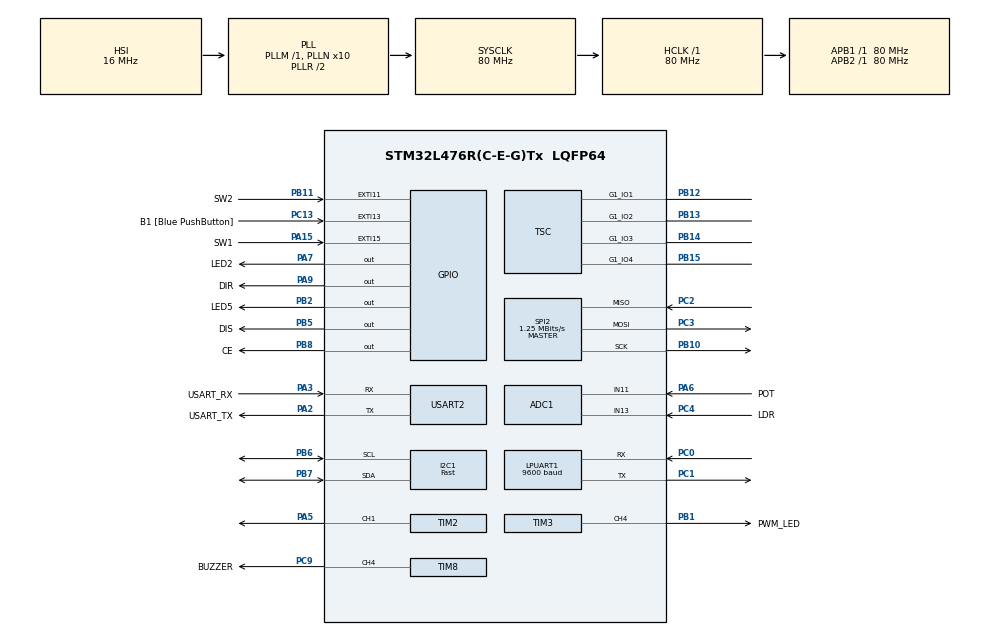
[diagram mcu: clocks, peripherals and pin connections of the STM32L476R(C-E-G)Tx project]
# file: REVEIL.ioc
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ADC1.Channel-0\#ChannelRegularConversion=ADC_CHANNEL_11
ADC1.Channel-1\#ChannelRegularConversion=ADC_CHANNEL_13
ADC1.ClockPrescaler=ADC_CLOCK_SYNC_PCLK_DIV1
ADC1.NbrOfConversion=2
ADC1.NbrOfConversionFlag=1
ADC1.OffsetNumber-0\#ChannelRegularConversion=ADC_OFFSET_NONE
ADC1.OffsetNumber-1\#ChannelRegularConversion=ADC_OFFSET_NONE
ADC1.Rank-0\#ChannelRegularConversion=1
ADC1.Rank-1\#ChannelRegularConversion=2
ADC1.SamplingTime-0\#ChannelRegularConversion=ADC_SAMPLETIME_640CYCLES_5
ADC1.SamplingTime-1\#ChannelRegularConversion=ADC_SAMPLETIME_640CYCLES_5
ADC1.master=1
Dma.Request0=TIM3_CH4/UP
Dma.TIM3_CH4/UP.0.Direction=DMA_MEMORY_TO_PERIPH
Dma.TIM3_CH4/UP.0.Instance=DMA1_Channel3
Dma.TIM3_CH4/UP.0.MemDataAlignment=DMA_MDATAALIGN_HALFWORD
Dma.TIM3_CH4/UP.0.MemInc=DMA_MINC_ENABLE
Dma.TIM3_CH4/UP.0.Mode=DMA_NORMAL
Dma.TIM3_CH4/UP.0.PeriphDataAlignment=DMA_PDATAALIGN_HALFWORD
Dma.TIM3_CH4/UP.0.PeriphInc=DMA_PINC_DISABLE
Dma.TIM3_CH4/UP.0.Priority=DMA_PRIORITY_LOW
FREERTOS.Tasks01=defaultTask,0,128,StartDefaultTask,Default,NULL,Dynamic,NULL,NULL
FREERTOS.configTOTAL_HEAP_SIZE=30000
FREERTOS.configUSE_NEWLIB_REENTRANT=1
I2C1.I2C_Speed_Mode=I2C_Fast
I2C1.Timing=0x00702991
LPUART1.BaudRate=9600
LPUART1.WordLength=UART_WORDLENGTH_8B
Mcu.Family=STM32L4
Mcu.Name=STM32L476R(C-E-G)Tx
Mcu.Package=LQFP64
NVIC.DMA1_Channel3_IRQn=true\:5\:0\:false\:false\:true\:true\:false\:true\:true
NVIC.EXTI15_10_IRQn=true\:5\:0\:false\:false\:true\:true\:true\:true\:true
NVIC.LPUART1_IRQn=true\:5\:0\:false\:false\:true\:true\:true\:true\:true
NVIC.PriorityGroup=NVIC_PRIORITYGROUP_4
NVIC.SPI2_IRQn=true\:5\:0\:false\:false\:true\:true\:true\:true\:true
NVIC.TIM6_DAC_IRQn=true\:15\:0\:false\:false\:true\:false\:false\:true\:true
NVIC.TimeBase=TIM6_DAC_IRQn
NVIC.TimeBaseIP=TIM6
NVIC.USART2_IRQn=true\:5\:0\:false\:false\:true\:true\:true\:true\:true
PA13\ (JTMS-SWDIO).GPIO_Label=TMS
PA13\ (JTMS-SWDIO).Mode=Serial_Wire
PA13\ (JTMS-SWDIO).Signal=SYS_JTMS-SWDIO
PA14\ (JTCK-SWCLK).GPIO_Label=TCK
PA14\ (JTCK-SWCLK).Mode=Serial_Wire
PA14\ (JTCK-SWCLK).Signal=SYS_JTCK-SWCLK
PA15\ (JTDI).GPIO_Label=SW1
PA15\ (JTDI).Signal=GPXTI15
PA2.GPIO_Label=USART_TX
PA2.GPIO_Mode=GPIO_MODE_AF_PP
PA2.GPIO_PuPd=GPIO_NOPULL
PA2.GPIO_Speed=GPIO_SPEED_FREQ_VERY_HIGH
PA2.Mode=Asynchronous
PA2.Signal=USART2_TX
PA3.GPIO_Label=USART_RX
PA3.GPIO_Mode=GPIO_MODE_AF_PP
PA3.GPIO_PuPd=GPIO_NOPULL
PA3.GPIO_Speed=GPIO_SPEED_FREQ_VERY_HIGH
PA3.Mode=Asynchronous
PA3.Signal=USART2_RX
PA5.Signal=S_TIM2_CH1
PA6.GPIO_Label=POT
PA6.Signal=ADCx_IN11
PA7.GPIO_Label=LED2
PA7.Signal=GPIO_Output
PA9.GPIO_Label=DIR
PA9.Signal=GPIO_Output
PB1.GPIO_Label=PWM_LED
PB1.Signal=S_TIM3_CH4
PB10.Mode=Full_Duplex_Master
PB10.Signal=SPI2_SCK
PB11.GPIO_Label=SW2
PB11.Signal=GPXTI11
PB12.Mode=G1_IO1-Channel
PB12.Signal=TSC_G1_IO1
PB13.Mode=G1_IO2-Channel
PB13.Signal=TSC_G1_IO2
PB14.Mode=G1_IO3-Channel
PB14.Signal=TSC_G1_IO3
PB15.Mode=G1_IO4-Sampling
PB15.Signal=TSC_G1_IO4
PB2.GPIO_Label=LED5
PB2.Signal=GPIO_Output
PB3\ (JTDO-TRACESWO).GPIO_Label=SWO
PB3\ (JTDO-TRACESWO).Signal=SYS_JTDO-SWO
PB5.GPIO_Label=DIS
PB5.Signal=GPIO_Output
PB6.Mode=I2C
PB6.Signal=I2C1_SCL
PB7.Mode=I2C
PB7.Signal=I2C1_SDA
PB8.GPIO_Label=CE
PB8.Signal=GPIO_Output
PC0.Mode=Asynchronous
PC0.Signal=LPUART1_RX
PC1.Mode=Asynchronous
PC1.Signal=LPUART1_TX
PC13.GPIO_Label=B1 [Blue PushButton]
PC13.GPIO_ModeDefaultEXTI=GPIO_MODE_IT_FALLING
PC13.GPIO_PuPd=GPIO_NOPULL
PC13.Signal=GPXTI13
PC14-OSC32_IN\ (PC14).Mode=LSE-External-Oscillator
PC14-OSC32_IN\ (PC14).Signal=RCC_OSC32_IN
PC15-OSC32_OUT\ (PC15).Mode=LSE-External-Oscillator
PC15-OSC32_OUT\ (PC15).Signal=RCC_OSC32_OUT
PC2.Mode=Full_Duplex_Master
PC2.Signal=SPI2_MISO
PC3.Mode=Full_Duplex_Master
PC3.Signal=SPI2_MOSI
PC4.GPIO_Label=LDR
PC4.Signal=ADCx_IN13
PC9.GPIO_Label=BUZZER
PC9.Signal=S_TIM8_CH4
ProjectManager.HeapSize=0x200
ProjectManager.StackSize=0x400
ProjectManager.TargetToolchain=STM32CubeIDE
RCC.ADCFreq_Value=64000000
RCC.AHBFreq_Value=80000000
RCC.APB1Freq_Value=80000000
RCC.APB1TimFreq_Value=80000000
RCC.APB2Freq_Value=80000000
RCC.APB2TimFreq_Value=80000000
RCC.CortexFreq_Value=80000000
RCC.HCLKFreq_Value=80000000
RCC.HSE_VALUE=8000000
RCC.HSI_VALUE=16000000
RCC.LPUART1CLockSelection=RCC_LPUART1CLKSOURCE_HSI
RCC.MSI_VALUE=4000000
RCC.PLLN=10
RCC.PLLSourceVirtual=RCC_PLLSOURCE_HSI
RCC.PREFETCH_ENABLE=1
RCC.SYSCLKFreq_VALUE=80000000
RCC.SYSCLKSource=RCC_SYSCLKSOURCE_PLLCLK
RCC.USBFreq_Value=64000000
RCC.VCOOutputFreq_Value=160000000
SH.ADCx_IN11.0=ADC1_IN11,IN11-Single-Ended
SH.ADCx_IN13.0=ADC1_IN13,IN13-Single-Ended
SH.S_TIM2_CH1.0=TIM2_CH1,PWM Generation1 CH1
SH.S_TIM3_CH4.0=TIM3_CH4,PWM Generation4 CH4
SH.S_TIM8_CH4.0=TIM8_CH4,PWM Generation4 CH4
SPI2.BaudRatePrescaler=SPI_BAUDRATEPRESCALER_64
SPI2.CLKPhase=SPI_PHASE_2EDGE
SPI2.CalculateBaudRate=1.25 MBits/s
SPI2.DataSize=SPI_DATASIZE_8BIT
SPI2.Direction=SPI_DIRECTION_2LINES
SPI2.Mode=SPI_MODE_MASTER
SPI2.VirtualType=VM_MASTER
TIM2.Channel-PWM\ Generation1\ CH1=TIM_CHANNEL_1
TIM2.Period=80000-1
TIM2.Prescaler=1-1
TIM3.Channel-PWM\ Generation4\ CH4=TIM_CHANNEL_4
TIM3.Period=100-1
TIM3.Prescaler=1-1
TIM8.Channel-PWM\ Generation4\ CH4=TIM_CHANNEL_4
TIM8.Period=500-1
TIM8.Prescaler=80-1
TIM8.Pulse-PWM\ Generation4\ CH4=250
TSC.ChannelIOs-G1_IO1-Channel=TSC_GROUP1_IO1
TSC.ChannelIOs-G1_IO2-Channel=TSC_GROUP1_IO2
TSC.ChannelIOs-G1_IO3-Channel=TSC_GROUP1_IO3
TSC.SamplingIOs-G1_IO4-Sampling=TSC_GROUP1_IO4
USART2.VirtualMode-Asynchronous=VM_ASYNC
VP_FREERTOS_VS_CMSIS_V1.Mode=CMSIS_V1
VP_SYS_VS_tim6.Mode=TIM6
board=NUCLEO-L476RG

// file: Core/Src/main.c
/* USER CODE BEGIN Header */
/**
  ******************************************************************************
  * @file           : main.c
  * @brief          : Main program body
  ******************************************************************************
  * @attention
  *
  * Copyright (c) 2026 STMicroelectronics.
  * All rights reserved.
  *
  * This software is licensed under terms that can be found in the LICENSE file
  * in the root directory of this software component.
  * If no LICENSE file comes with this software, it is provided AS-IS.
  *
  ******************************************************************************
  */
/* USER CODE END Header */
#include "main.h"
#include "cmsis_os.h"

/* USER CODE BEGIN Includes */
#include <stdio.h>
#include <string.h>
#include "ssd1306.h"
#include "SGP40.h"
/* USER CODE END Includes */

/* USER CODE BEGIN PD */
#define NB_LED				4
#define POT_SEUIL_MANUEL	50
#define DUREE_AUBE_MS       15000U
#define DUREE_CREPUSCULE_MS 15000U
#define DUREE_ALARME_MS     30000U
#define TOUCH_THRESHOLD 430
/* USER CODE END PD */

ADC_HandleTypeDef hadc1;

I2C_HandleTypeDef hi2c1;

UART_HandleTypeDef hlpuart1;
UART_HandleTypeDef huart2;

SPI_HandleTypeDef hspi2;

TIM_HandleTypeDef htim2;
TIM_HandleTypeDef htim3;
TIM_HandleTypeDef htim8;
DMA_HandleTypeDef hdma_tim3_ch4_up;

TSC_HandleTypeDef htsc;

osThreadId defaultTaskHandle;
/* USER CODE BEGIN PV */
/* ============================================================
 * HORLOGE ET ALARME
 * ============================================================ */

typedef struct
{
    uint8_t heure;
    uint8_t min;
    uint8_t sec;
} temps;

temps horloge = {0, 0, 0};
temps alarme  = {0, 0, 0};

uint8_t alarmeActive = 0;

/* ============================================================
 * AFFICHAGE OLED
 * ============================================================ */

char Oled[20];

/*
 * 0 = Heure
 * 1 = Alarme
 * 2 = Température
 * 3 = Qualité de l'air
 */
uint8_t ecran = 0;

volatile uint8_t oledColor = 1;

/* ============================================================
 * BLUETOOTH
 * ============================================================ */

uint8_t bt_char;
char bt_buffer[30];
uint8_t bt_index = 0;

/* ============================================================
 * SEUILS DE CONFIGURATION
 * ============================================================ */

volatile int16_t  seuilTemperature = 3000;   // 30.00 °C
volatile uint16_t seuilVOC = 0;
volatile uint16_t seuilLDR = 1500;

/* ============================================================
 * CAPTEUR DE TEMPÉRATURE
 * ============================================================ */

uint8_t control_T[2] = {0x80, 0x15};
uint8_t Temp_Address = 0x02;
uint8_t Temp[3];

int16_t temperature = 0;
uint8_t temperatureValide = 0;

/* ============================================================
 * CAPTEUR VOC
 * ============================================================ */

uint16_t voc = 0;

float voc_temp = 25.0;
float voc_humi = 50.0;

uint8_t vocValide = 0;

/* ============================================================
 * ADC : POTENTIOMÈTRE ET LDR
 * ============================================================ */

volatile uint16_t adcPot = 0;
volatile uint16_t adcLdr = 0;

/* ============================================================
 * LED RGB
 * ============================================================ */

uint16_t PwmLED[NB_LED * 24 + 50];

/* ============================================================
 * SIMULATION D'AUBE ET DE CRÉPUSCULE
 * ============================================================ */

volatile uint8_t aubeActive = 0;
volatile uint8_t crepusculeActif = 0;

TickType_t debutAube = 0;
TickType_t debutCrepuscule = 0;

/* ============================================================
 * BUZZER ET MÉLODIE DE SOMMEIL
 * ============================================================ */

typedef struct
{
    uint16_t frequence;
    uint16_t duree_ms;
    uint16_t pause_ms;
} NoteDouce;

const NoteDouce melodieDouce[] =
{
    {392, 500, 150},   // Sol
    {440, 500, 150},   // La
    {392, 700, 250},   // Sol

    {330, 500, 150},   // Mi
    {349, 500, 150},   // Fa
    {330, 700, 300},   // Mi

    {294, 600, 150},   // Ré
    {330, 600, 150},   // Mi
    {262, 900, 500}    // Do
};

volatile uint8_t melodieSommeilDemandee = 0;

/* ============================================================
 * Sensitive TouchPad
 * ============================================================ */

volatile uint16_t touchStop   = 0;
volatile uint16_t touchSnooze = 0;
volatile uint16_t touchOnOff  = 0;

volatile uint8_t demandeStopAlarme = 0;

volatile uint8_t demandeSnooze = 0;
volatile uint8_t snoozeActif = 0;
temps heureSnooze = {0, 0, 0};

/* ============================================================
 * SYNCHRONISATION FREERTOS
 * ============================================================ */

SemaphoreHandle_t semaphBT;
SemaphoreHandle_t semaphSW2;
SemaphoreHandle_t semaphSW1;

SemaphoreHandle_t mutexI2C;

/* USER CODE END PV */

void SystemClock_Config(void);
static void MX_GPIO_Init(void);
static void MX_DMA_Init(void);
static void MX_I2C1_Init(void);
static void MX_LPUART1_UART_Init(void);
static void MX_USART2_UART_Init(void);
static void MX_SPI2_Init(void);
static void MX_TIM8_Init(void);
static void MX_TIM2_Init(void);
static void MX_TIM3_Init(void);
static void MX_ADC1_Init(void);
static void MX_TSC_Init(void);
void StartDefaultTask(void const * argument);

/* USER CODE BEGIN PFP */
void TaskHorloge(void *pvParameters);
void TaskAlarme(void *pvParameters);
void playAlarme(void);

void TaskAffichage(void *pvParameters);

void TaskSW1(void *pvParameters);
void TaskSW2(void *pvParameters);

void TaskBluetooth(void *pvParameters);

void TaskTemperature(void *pvParameters);

void TaskVOC(void *pvParameters);

void TaskADC(void *pvParameters);

void TaskVentilo(void *pvParameters);
void Ventilo_Start(uint8_t direction, uint32_t vitesse);
void Ventilo_Stop(void);

void TaskLED(void *pvParameters);
void LED_SetColor(uint8_t red, uint8_t green, uint8_t blue);
void LED_Send(void);

void TaskMelodieSommeil(void *pvParameters);
void Buzzer_SetFrequency(uint16_t frequence);
void playMelodyDouce(void);

void TaskTouch(void *pvParameters);
/* USER CODE END PFP */

/* USER CODE BEGIN 0 */

void Ventilo_Start(uint8_t direction, uint32_t vitesse)
{
    if (vitesse > 80000)
    {
        vitesse = 80000;
    }

    HAL_TIM_PWM_Stop(&htim2, TIM_CHANNEL_1);

    HAL_GPIO_WritePin(DIS_GPIO_Port, DIS_Pin, GPIO_PIN_SET);

    HAL_GPIO_WritePin(DIR_GPIO_Port, DIR_Pin, direction ? GPIO_PIN_SET : GPIO_PIN_RESET);

    __HAL_TIM_SET_COMPARE(&htim2, TIM_CHANNEL_1, vitesse);

    HAL_GPIO_WritePin( DIS_GPIO_Port, DIS_Pin, GPIO_PIN_RESET);

    HAL_TIM_PWM_Start(&htim2, TIM_CHANNEL_1);
}

void Ventilo_Stop(void)
{
    HAL_TIM_PWM_Stop(&htim2, TIM_CHANNEL_1);

    __HAL_TIM_SET_COMPARE(&htim2, TIM_CHANNEL_1, 0);

    HAL_GPIO_WritePin(DIS_GPIO_Port, DIS_Pin, GPIO_PIN_SET);
}

void LED_SetColor(uint8_t red, uint8_t green, uint8_t blue)
{
    uint8_t Couleur[12] =
    {
        green, red, blue,

        green, red, blue,

        green, red, blue,

        green, red, blue
    };

    uint16_t k = 0;

    for (int i = 0; i < 12; i++)
    {
        for (int j = 7; j >= 0; j--)
        {
            PwmLED[k++] = (Couleur[i] & (1u << j)) ? 64 : 32;
        }
    }

    for (int i = 0; i < 50; i++)
    {
        PwmLED[k++] = 0;
    }
}

void LED_Send(void)
{

    HAL_TIM_PWM_Stop_DMA(&htim3, TIM_CHANNEL_4);

    HAL_TIM_PWM_Start_DMA(&htim3, TIM_CHANNEL_4, (uint32_t *)PwmLED, NB_LED * 24 + 50);

    vTaskDelay(pdMS_TO_TICKS(5));
}

void Buzzer_SetFrequency(uint16_t frequence)
{
    if (frequence == 0)
    {
        HAL_TIM_PWM_Stop(&htim8, TIM_CHANNEL_4);
        return;
    }

    uint32_t periode = 1000000U / frequence;

    __HAL_TIM_SET_AUTORELOAD(&htim8, periode - 1);
    __HAL_TIM_SET_COMPARE(&htim8,
                          TIM_CHANNEL_4,
                          periode / 2);

    __HAL_TIM_SET_COUNTER(&htim8, 0);
}

void playAlarme(void)
{
    Buzzer_SetFrequency(1000);
    HAL_TIM_PWM_Start(&htim8, TIM_CHANNEL_4);
}

void playMelodyDouce(void)
{
    uint8_t taille =
        sizeof(melodieDouce) / sizeof(NoteDouce);

    for (uint8_t i = 0; i < taille; i++)
    {
        Buzzer_SetFrequency(
            melodieDouce[i].frequence);

        HAL_TIM_PWM_Start(
            &htim8,
            TIM_CHANNEL_4);

        vTaskDelay(
            pdMS_TO_TICKS(
                melodieDouce[i].duree_ms));

        HAL_TIM_PWM_Stop(
            &htim8,
            TIM_CHANNEL_4);

        vTaskDelay(
            pdMS_TO_TICKS(
                melodieDouce[i].pause_ms));
    }

    HAL_TIM_PWM_Stop(
        &htim8,
        TIM_CHANNEL_4);
}

uint16_t TSC_ReadChannel(uint32_t channel)
{
    TSC_IOConfigTypeDef ioConfig = {0};

    ioConfig.ChannelIOs = channel;
    ioConfig.ShieldIOs = 0;
    ioConfig.SamplingIOs = TSC_GROUP1_IO4;

    HAL_TSC_IODischarge(&htsc, ENABLE);
    vTaskDelay(pdMS_TO_TICKS(1));
    HAL_TSC_IODischarge(&htsc, DISABLE);

    if (HAL_TSC_IOConfig(&htsc, &ioConfig) != HAL_OK)
        return 8191;

    if (HAL_TSC_Start(&htsc) != HAL_OK)
        return 8191;

    while (HAL_TSC_GetState(&htsc) == HAL_TSC_STATE_BUSY)
    {
        taskYIELD();
    }

    if (HAL_TSC_GetState(&htsc) != HAL_TSC_STATE_READY)
        return 8191;

    return HAL_TSC_GroupGetValue(&htsc, TSC_GROUP1_IDX);
}
/* USER CODE END 0 */

int main(void)
{

  /* MCU Configuration--------------------------------------------------------*/

  /* Reset of all peripherals, Initializes the Flash interface and the Systick. */
  HAL_Init();

  /* Configure the system clock */
  SystemClock_Config();

  /* Initialize all configured peripherals */
  MX_GPIO_Init();
  MX_DMA_Init();
  MX_I2C1_Init();
  MX_LPUART1_UART_Init();
  MX_USART2_UART_Init();
  MX_SPI2_Init();
  MX_TIM8_Init();
  MX_TIM2_Init();
  MX_TIM3_Init();
  MX_ADC1_Init();
  MX_TSC_Init();
  /* USER CODE BEGIN 2 */

  SSD1306_Init();

  __HAL_TIM_SET_COMPARE(&htim2, TIM_CHANNEL_1, 0);
  HAL_GPIO_WritePin(DIS_GPIO_Port, DIS_Pin, GPIO_PIN_SET);
  HAL_GPIO_WritePin(DIR_GPIO_Port, DIR_Pin, GPIO_PIN_RESET);

  HAL_UART_Receive_IT(&hlpuart1, &bt_char, 1);

  /* USER CODE END 2 */

  /* USER CODE BEGIN RTOS_MUTEX */
  /* add mutexes, ... */

  mutexI2C = xSemaphoreCreateMutex();

  /* USER CODE END RTOS_MUTEX */

  /* USER CODE BEGIN RTOS_SEMAPHORES */
  /* add semaphores, ... */

  semaphBT = xSemaphoreCreateBinary();
  semaphSW2 = xSemaphoreCreateBinary();
  semaphSW1 = xSemaphoreCreateBinary();

  /* USER CODE END RTOS_SEMAPHORES */

  /* Create the thread(s) */
  /* definition and creation of defaultTask */
  osThreadDef(defaultTask, StartDefaultTask, osPriorityNormal, 0, 128);
  defaultTaskHandle = osThreadCreate(osThread(defaultTask), NULL);

  /* USER CODE BEGIN RTOS_THREADS */
  /* add threads, ... */

  xTaskCreate(TaskHorloge,
              "Horloge",
              256,
              NULL,
              tskIDLE_PRIORITY + 1,
              NULL);

  xTaskCreate(TaskAlarme,
              "Alarme",
              256,
              NULL,
              tskIDLE_PRIORITY + 2,
              NULL);

  xTaskCreate(TaskAffichage,
              "Affichage",
              512,
              NULL,
              tskIDLE_PRIORITY + 1,
              NULL);

  xTaskCreate(TaskSW1,
              "SW1",
              256,
              NULL,
              tskIDLE_PRIORITY + 2,
              NULL);

  xTaskCreate(TaskSW2,
              "SW2",
              256,
              NULL,
              tskIDLE_PRIORITY + 2,
              NULL);

  xTaskCreate(TaskBluetooth,
              "Bluetooth",
              512,
              NULL,
              tskIDLE_PRIORITY + 2,
              NULL);

  xTaskCreate(TaskTemperature,
              "Temperature",
              512,
              NULL,
              tskIDLE_PRIORITY + 1,
              NULL);

  xTaskCreate(TaskVOC,
              "VOC",
              512,
              NULL,
              tskIDLE_PRIORITY + 1,
              NULL);

  xTaskCreate(TaskADC,
              "ADC",
              256,
              NULL,
              tskIDLE_PRIORITY + 1,
              NULL);

  xTaskCreate(TaskVentilo,
              "Ventilo",
              256,
              NULL,
              tskIDLE_PRIORITY + 1,
              NULL);

  xTaskCreate(TaskLED,
              "LED",
              256,
              NULL,
              tskIDLE_PRIORITY + 1,
              NULL);

  xTaskCreate(TaskMelodieSommeil,
              "MelodieSommeil",
              256,
              NULL,
              tskIDLE_PRIORITY + 1,
              NULL);

  xTaskCreate(TaskTouch,
              "Touch",
              256,
              NULL,
              tskIDLE_PRIORITY + 1,
              NULL);

  /* USER CODE END RTOS_THREADS */

  /* Start scheduler */
  osKernelStart();

  /* We should never get here as control is now taken by the scheduler */

  /* Infinite loop */
  while (1)
  {

  }
}

void SystemClock_Config(void)
{
  RCC_OscInitTypeDef RCC_OscInitStruct = {0};
  RCC_ClkInitTypeDef RCC_ClkInitStruct = {0};

  /** Configure the main internal regulator output voltage
  */
  if (HAL_PWREx_ControlVoltageScaling(PWR_REGULATOR_VOLTAGE_SCALE1) != HAL_OK)
  {
    Error_Handler();
  }

  /** Initializes the RCC Oscillators according to the specified parameters
  * in the RCC_OscInitTypeDef structure.
  */
  RCC_OscInitStruct.OscillatorType = RCC_OSCILLATORTYPE_HSI;
  RCC_OscInitStruct.HSIState = RCC_HSI_ON;
  RCC_OscInitStruct.HSICalibrationValue = RCC_HSICALIBRATION_DEFAULT;
  RCC_OscInitStruct.PLL.PLLState = RCC_PLL_ON;
  RCC_OscInitStruct.PLL.PLLSource = RCC_PLLSOURCE_HSI;
  RCC_OscInitStruct.PLL.PLLM = 1;
  RCC_OscInitStruct.PLL.PLLN = 10;
  RCC_OscInitStruct.PLL.PLLP = RCC_PLLP_DIV7;
  RCC_OscInitStruct.PLL.PLLQ = RCC_PLLQ_DIV2;
  RCC_OscInitStruct.PLL.PLLR = RCC_PLLR_DIV2;
  if (HAL_RCC_OscConfig(&RCC_OscInitStruct) != HAL_OK)
  {
    Error_Handler();
  }

  /** Initializes the CPU, AHB and APB buses clocks
  */
  RCC_ClkInitStruct.ClockType = RCC_CLOCKTYPE_HCLK|RCC_CLOCKTYPE_SYSCLK
                              |RCC_CLOCKTYPE_PCLK1|RCC_CLOCKTYPE_PCLK2;
  RCC_ClkInitStruct.SYSCLKSource = RCC_SYSCLKSOURCE_PLLCLK;
  RCC_ClkInitStruct.AHBCLKDivider = RCC_SYSCLK_DIV1;
  RCC_ClkInitStruct.APB1CLKDivider = RCC_HCLK_DIV1;
  RCC_ClkInitStruct.APB2CLKDivider = RCC_HCLK_DIV1;

  if (HAL_RCC_ClockConfig(&RCC_ClkInitStruct, FLASH_LATENCY_4) != HAL_OK)
  {
    Error_Handler();
  }
}

static void MX_ADC1_Init(void)
{

  ADC_MultiModeTypeDef multimode = {0};
  ADC_ChannelConfTypeDef sConfig = {0};

  /** Common config
  */
  hadc1.Instance = ADC1;
  hadc1.Init.ClockPrescaler = ADC_CLOCK_SYNC_PCLK_DIV1;
  hadc1.Init.Resolution = ADC_RESOLUTION_12B;
  hadc1.Init.DataAlign = ADC_DATAALIGN_RIGHT;
  hadc1.Init.ScanConvMode = ADC_SCAN_ENABLE;
  hadc1.Init.EOCSelection = ADC_EOC_SINGLE_CONV;
  hadc1.Init.LowPowerAutoWait = DISABLE;
  hadc1.Init.ContinuousConvMode = DISABLE;
  hadc1.Init.NbrOfConversion = 2;
  hadc1.Init.DiscontinuousConvMode = DISABLE;
  hadc1.Init.ExternalTrigConv = ADC_SOFTWARE_START;
  hadc1.Init.ExternalTrigConvEdge = ADC_EXTERNALTRIGCONVEDGE_NONE;
  hadc1.Init.DMAContinuousRequests = DISABLE;
  hadc1.Init.Overrun = ADC_OVR_DATA_PRESERVED;
  hadc1.Init.OversamplingMode = DISABLE;
  if (HAL_ADC_Init(&hadc1) != HAL_OK)
  {
    Error_Handler();
  }

  /** Configure the ADC multi-mode
  */
  multimode.Mode = ADC_MODE_INDEPENDENT;
  if (HAL_ADCEx_MultiModeConfigChannel(&hadc1, &multimode) != HAL_OK)
  {
    Error_Handler();
  }

  /** Configure Regular Channel
  */
  sConfig.Channel = ADC_CHANNEL_11;
  sConfig.Rank = ADC_REGULAR_RANK_1;
  sConfig.SamplingTime = ADC_SAMPLETIME_640CYCLES_5;
  sConfig.SingleDiff = ADC_SINGLE_ENDED;
  sConfig.OffsetNumber = ADC_OFFSET_NONE;
  sConfig.Offset = 0;
  if (HAL_ADC_ConfigChannel(&hadc1, &sConfig) != HAL_OK)
  {
    Error_Handler();
  }

  /** Configure Regular Channel
  */
  sConfig.Channel = ADC_CHANNEL_13;
  sConfig.Rank = ADC_REGULAR_RANK_2;
  if (HAL_ADC_ConfigChannel(&hadc1, &sConfig) != HAL_OK)
  {
    Error_Handler();
  }

}

static void MX_I2C1_Init(void)
{

  hi2c1.Instance = I2C1;
  hi2c1.Init.Timing = 0x00702991;
  hi2c1.Init.OwnAddress1 = 0;
  hi2c1.Init.AddressingMode = I2C_ADDRESSINGMODE_7BIT;
  hi2c1.Init.DualAddressMode = I2C_DUALADDRESS_DISABLE;
  hi2c1.Init.OwnAddress2 = 0;
  hi2c1.Init.OwnAddress2Masks = I2C_OA2_NOMASK;
  hi2c1.Init.GeneralCallMode = I2C_GENERALCALL_DISABLE;
  hi2c1.Init.NoStretchMode = I2C_NOSTRETCH_DISABLE;
  if (HAL_I2C_Init(&hi2c1) != HAL_OK)
  {
    Error_Handler();
  }

  /** Configure Analogue filter
  */
  if (HAL_I2CEx_ConfigAnalogFilter(&hi2c1, I2C_ANALOGFILTER_ENABLE) != HAL_OK)
  {
    Error_Handler();
  }

  /** Configure Digital filter
  */
  if (HAL_I2CEx_ConfigDigitalFilter(&hi2c1, 0) != HAL_OK)
  {
    Error_Handler();
  }

}

static void MX_LPUART1_UART_Init(void)
{

  hlpuart1.Instance = LPUART1;
  hlpuart1.Init.BaudRate = 9600;
  hlpuart1.Init.WordLength = UART_WORDLENGTH_8B;
  hlpuart1.Init.StopBits = UART_STOPBITS_1;
  hlpuart1.Init.Parity = UART_PARITY_NONE;
  hlpuart1.Init.Mode = UART_MODE_TX_RX;
  hlpuart1.Init.HwFlowCtl = UART_HWCONTROL_NONE;
  hlpuart1.Init.OneBitSampling = UART_ONE_BIT_SAMPLE_DISABLE;
  hlpuart1.AdvancedInit.AdvFeatureInit = UART_ADVFEATURE_NO_INIT;
  if (HAL_UART_Init(&hlpuart1) != HAL_OK)
  {
    Error_Handler();
  }

}

static void MX_USART2_UART_Init(void)
{

  huart2.Instance = USART2;
  huart2.Init.BaudRate = 115200;
  huart2.Init.WordLength = UART_WORDLENGTH_8B;
  huart2.Init.StopBits = UART_STOPBITS_1;
  huart2.Init.Parity = UART_PARITY_NONE;
  huart2.Init.Mode = UART_MODE_TX_RX;
  huart2.Init.HwFlowCtl = UART_HWCONTROL_NONE;
  huart2.Init.OverSampling = UART_OVERSAMPLING_16;
  huart2.Init.OneBitSampling = UART_ONE_BIT_SAMPLE_DISABLE;
  huart2.AdvancedInit.AdvFeatureInit = UART_ADVFEATURE_NO_INIT;
  if (HAL_UART_Init(&huart2) != HAL_OK)
  {
    Error_Handler();
  }

}

static void MX_SPI2_Init(void)
{

  /* SPI2 parameter configuration*/
  hspi2.Instance = SPI2;
  hspi2.Init.Mode = SPI_MODE_MASTER;
  hspi2.Init.Direction = SPI_DIRECTION_2LINES;
  hspi2.Init.DataSize = SPI_DATASIZE_8BIT;
  hspi2.Init.CLKPolarity = SPI_POLARITY_LOW;
  hspi2.Init.CLKPhase = SPI_PHASE_2EDGE;
  hspi2.Init.NSS = SPI_NSS_SOFT;
  hspi2.Init.BaudRatePrescaler = SPI_BAUDRATEPRESCALER_64;
  hspi2.Init.FirstBit = SPI_FIRSTBIT_MSB;
  hspi2.Init.TIMode = SPI_TIMODE_DISABLE;
  hspi2.Init.CRCCalculation = SPI_CRCCALCULATION_DISABLE;
  hspi2.Init.CRCPolynomial = 7;
  hspi2.Init.CRCLength = SPI_CRC_LENGTH_DATASIZE;
  hspi2.Init.NSSPMode = SPI_NSS_PULSE_DISABLE;
  if (HAL_SPI_Init(&hspi2) != HAL_OK)
  {
    Error_Handler();
  }

}

static void MX_TIM2_Init(void)
{

  TIM_MasterConfigTypeDef sMasterConfig = {0};
  TIM_OC_InitTypeDef sConfigOC = {0};

  htim2.Instance = TIM2;
  htim2.Init.Prescaler = 1-1;
  htim2.Init.CounterMode = TIM_COUNTERMODE_UP;
  htim2.Init.Period = 80000-1;
  htim2.Init.ClockDivision = TIM_CLOCKDIVISION_DIV1;
  htim2.Init.AutoReloadPreload = TIM_AUTORELOAD_PRELOAD_DISABLE;
  if (HAL_TIM_PWM_Init(&htim2) != HAL_OK)
  {
    Error_Handler();
  }
  sMasterConfig.MasterOutputTrigger = TIM_TRGO_RESET;
  sMasterConfig.MasterSlaveMode = TIM_MASTERSLAVEMODE_DISABLE;
  if (HAL_TIMEx_MasterConfigSynchronization(&htim2, &sMasterConfig) != HAL_OK)
  {
    Error_Handler();
  }
  sConfigOC.OCMode = TIM_OCMODE_PWM1;
  sConfigOC.Pulse = 0;
  sConfigOC.OCPolarity = TIM_OCPOLARITY_HIGH;
  sConfigOC.OCFastMode = TIM_OCFAST_DISABLE;
  if (HAL_TIM_PWM_ConfigChannel(&htim2, &sConfigOC, TIM_CHANNEL_1) != HAL_OK)
  {
    Error_Handler();
  }
  HAL_TIM_MspPostInit(&htim2);

}

static void MX_TIM3_Init(void)
{

  TIM_MasterConfigTypeDef sMasterConfig = {0};
  TIM_OC_InitTypeDef sConfigOC = {0};

  htim3.Instance = TIM3;
  htim3.Init.Prescaler = 1-1;
  htim3.Init.CounterMode = TIM_COUNTERMODE_UP;
  htim3.Init.Period = 100-1;
  htim3.Init.ClockDivision = TIM_CLOCKDIVISION_DIV1;
  htim3.Init.AutoReloadPreload = TIM_AUTORELOAD_PRELOAD_DISABLE;
  if (HAL_TIM_PWM_Init(&htim3) != HAL_OK)
  {
    Error_Handler();
  }
  sMasterConfig.MasterOutputTrigger = TIM_TRGO_RESET;
  sMasterConfig.MasterSlaveMode = TIM_MASTERSLAVEMODE_DISABLE;
  if (HAL_TIMEx_MasterConfigSynchronization(&htim3, &sMasterConfig) != HAL_OK)
  {
    Error_Handler();
  }
  sConfigOC.OCMode = TIM_OCMODE_PWM1;
  sConfigOC.Pulse = 0;
  sConfigOC.OCPolarity = TIM_OCPOLARITY_HIGH;
  sConfigOC.OCFastMode = TIM_OCFAST_DISABLE;
  if (HAL_TIM_PWM_ConfigChannel(&htim3, &sConfigOC, TIM_CHANNEL_4) != HAL_OK)
  {
    Error_Handler();
  }
  HAL_TIM_MspPostInit(&htim3);

}

static void MX_TIM8_Init(void)
{

  TIM_MasterConfigTypeDef sMasterConfig = {0};
  TIM_OC_InitTypeDef sConfigOC = {0};
  TIM_BreakDeadTimeConfigTypeDef sBreakDeadTimeConfig = {0};

  htim8.Instance = TIM8;
  htim8.Init.Prescaler = 80-1;
  htim8.Init.CounterMode = TIM_COUNTERMODE_UP;
  htim8.Init.Period = 500-1;
  htim8.Init.ClockDivision = TIM_CLOCKDIVISION_DIV1;
  htim8.Init.RepetitionCounter = 0;
  htim8.Init.AutoReloadPreload = TIM_AUTORELOAD_PRELOAD_DISABLE;
  if (HAL_TIM_PWM_Init(&htim8) != HAL_OK)
  {
    Error_Handler();
  }
  sMasterConfig.MasterOutputTrigger = TIM_TRGO_RESET;
  sMasterConfig.MasterOutputTrigger2 = TIM_TRGO2_RESET;
  sMasterConfig.MasterSlaveMode = TIM_MASTERSLAVEMODE_DISABLE;
  if (HAL_TIMEx_MasterConfigSynchronization(&htim8, &sMasterConfig) != HAL_OK)
  {
    Error_Handler();
  }
  sConfigOC.OCMode = TIM_OCMODE_PWM1;
  sConfigOC.Pulse = 250;
  sConfigOC.OCPolarity = TIM_OCPOLARITY_HIGH;
  sConfigOC.OCFastMode = TIM_OCFAST_DISABLE;
  sConfigOC.OCIdleState = TIM_OCIDLESTATE_RESET;
  sConfigOC.OCNIdleState = TIM_OCNIDLESTATE_RESET;
  if (HAL_TIM_PWM_ConfigChannel(&htim8, &sConfigOC, TIM_CHANNEL_4) != HAL_OK)
  {
    Error_Handler();
  }
  sBreakDeadTimeConfig.OffStateRunMode = TIM_OSSR_DISABLE;
  sBreakDeadTimeConfig.OffStateIDLEMode = TIM_OSSI_DISABLE;
  sBreakDeadTimeConfig.LockLevel = TIM_LOCKLEVEL_OFF;
  sBreakDeadTimeConfig.DeadTime = 0;
  sBreakDeadTimeConfig.BreakState = TIM_BREAK_DISABLE;
  sBreakDeadTimeConfig.BreakPolarity = TIM_BREAKPOLARITY_HIGH;
  sBreakDeadTimeConfig.BreakFilter = 0;
  sBreakDeadTimeConfig.Break2State = TIM_BREAK2_DISABLE;
  sBreakDeadTimeConfig.Break2Polarity = TIM_BREAK2POLARITY_HIGH;
  sBreakDeadTimeConfig.Break2Filter = 0;
  sBreakDeadTimeConfig.AutomaticOutput = TIM_AUTOMATICOUTPUT_DISABLE;
  if (HAL_TIMEx_ConfigBreakDeadTime(&htim8, &sBreakDeadTimeConfig) != HAL_OK)
  {
    Error_Handler();
  }
  HAL_TIM_MspPostInit(&htim8);

}

static void MX_TSC_Init(void)
{

  /** Configure the TSC peripheral
  */
  htsc.Instance = TSC;
  htsc.Init.CTPulseHighLength = TSC_CTPH_2CYCLES;
  htsc.Init.CTPulseLowLength = TSC_CTPL_2CYCLES;
  htsc.Init.SpreadSpectrum = DISABLE;
  htsc.Init.SpreadSpectrumDeviation = 1;
  htsc.Init.SpreadSpectrumPrescaler = TSC_SS_PRESC_DIV1;
  htsc.Init.PulseGeneratorPrescaler = TSC_PG_PRESC_DIV4;
  htsc.Init.MaxCountValue = TSC_MCV_8191;
  htsc.Init.IODefaultMode = TSC_IODEF_OUT_PP_LOW;
  htsc.Init.SynchroPinPolarity = TSC_SYNC_POLARITY_FALLING;
  htsc.Init.AcquisitionMode = TSC_ACQ_MODE_NORMAL;
  htsc.Init.MaxCountInterrupt = DISABLE;
  htsc.Init.ChannelIOs = TSC_GROUP1_IO1|TSC_GROUP1_IO2|TSC_GROUP1_IO3;
  htsc.Init.ShieldIOs = 0;
  htsc.Init.SamplingIOs = TSC_GROUP1_IO4;
  if (HAL_TSC_Init(&htsc) != HAL_OK)
  {
    Error_Handler();
  }

}

static void MX_DMA_Init(void)
{

  /* DMA controller clock enable */
  __HAL_RCC_DMA1_CLK_ENABLE();

  /* DMA interrupt init */
  /* DMA1_Channel3_IRQn interrupt configuration */
  HAL_NVIC_SetPriority(DMA1_Channel3_IRQn, 5, 0);
  HAL_NVIC_EnableIRQ(DMA1_Channel3_IRQn);

}

static void MX_GPIO_Init(void)
{
  GPIO_InitTypeDef GPIO_InitStruct = {0};

  /* GPIO Ports Clock Enable */
  __HAL_RCC_GPIOC_CLK_ENABLE();
  __HAL_RCC_GPIOA_CLK_ENABLE();
  __HAL_RCC_GPIOB_CLK_ENABLE();

  /*Configure GPIO pin Output Level */
  HAL_GPIO_WritePin(GPIOA, LED2_Pin|DIR_Pin, GPIO_PIN_RESET);

  /*Configure GPIO pin Output Level */
  HAL_GPIO_WritePin(GPIOB, LED5_Pin|DIS_Pin|CE_Pin, GPIO_PIN_RESET);

  /*Configure GPIO pin : B1_Pin */
  GPIO_InitStruct.Pin = B1_Pin;
  GPIO_InitStruct.Mode = GPIO_MODE_IT_FALLING;
  GPIO_InitStruct.Pull = GPIO_NOPULL;
  HAL_GPIO_Init(B1_GPIO_Port, &GPIO_InitStruct);

  /*Configure GPIO pins : LED2_Pin DIR_Pin */
  GPIO_InitStruct.Pin = LED2_Pin|DIR_Pin;
  GPIO_InitStruct.Mode = GPIO_MODE_OUTPUT_PP;
  GPIO_InitStruct.Pull = GPIO_NOPULL;
  GPIO_InitStruct.Speed = GPIO_SPEED_FREQ_LOW;
  HAL_GPIO_Init(GPIOA, &GPIO_InitStruct);

  /*Configure GPIO pins : LED5_Pin DIS_Pin CE_Pin */
  GPIO_InitStruct.Pin = LED5_Pin|DIS_Pin|CE_Pin;
  GPIO_InitStruct.Mode = GPIO_MODE_OUTPUT_PP;
  GPIO_InitStruct.Pull = GPIO_NOPULL;
  GPIO_InitStruct.Speed = GPIO_SPEED_FREQ_LOW;
  HAL_GPIO_Init(GPIOB, &GPIO_InitStruct);

  /*Configure GPIO pin : SW2_Pin */
  GPIO_InitStruct.Pin = SW2_Pin;
  GPIO_InitStruct.Mode = GPIO_MODE_IT_RISING;
  GPIO_InitStruct.Pull = GPIO_NOPULL;
  HAL_GPIO_Init(SW2_GPIO_Port, &GPIO_InitStruct);

  /*Configure GPIO pin : SW1_Pin */
  GPIO_InitStruct.Pin = SW1_Pin;
  GPIO_InitStruct.Mode = GPIO_MODE_IT_RISING;
  GPIO_InitStruct.Pull = GPIO_NOPULL;
  HAL_GPIO_Init(SW1_GPIO_Port, &GPIO_InitStruct);

  /* EXTI interrupt init*/
  HAL_NVIC_SetPriority(EXTI15_10_IRQn, 5, 0);
  HAL_NVIC_EnableIRQ(EXTI15_10_IRQn);

}

/* USER CODE BEGIN 4 */

void TaskHorloge(void *pvParameters)
{
    TickType_t xLastWakeTime = xTaskGetTickCount();

    while (1)
    {
        vTaskDelayUntil(&xLastWakeTime, pdMS_TO_TICKS(1000));
        horloge.sec++;

        if (horloge.sec >= 60)
        {
            horloge.sec = 0;
            horloge.min++;

            if (horloge.min >= 60)
            {
                horloge.min = 0;
                horloge.heure++;

                if (horloge.heure >= 24)
                {
                    horloge.heure = 0;
                }
            }
        }

    }
}

void TaskAlarme(void *pvParameters)
{
    uint8_t declenchee = 0;
    TickType_t debutSonnerie = 0;
    uint8_t sonnerieActive = 0;

    while (1)
    {
        if (demandeStopAlarme)
        {
            demandeStopAlarme = 0;

            if (sonnerieActive)
            {
                HAL_TIM_PWM_Stop(&htim8, TIM_CHANNEL_4);
                sonnerieActive = 0;
            }

            aubeActive = 0;

            snoozeActif = 0;
        }

        if (demandeSnooze)
        {
            demandeSnooze = 0;

            if (sonnerieActive)
            {
                HAL_TIM_PWM_Stop(&htim8, TIM_CHANNEL_4);
                sonnerieActive = 0;

                aubeActive = 0;

                heureSnooze.heure = horloge.heure;
                heureSnooze.min   = horloge.min + 1;
                heureSnooze.sec   = horloge.sec;

                if (heureSnooze.min >= 60)
                {
                    heureSnooze.min = 0;
                    heureSnooze.heure++;

                    if (heureSnooze.heure >= 24)
                    {
                        heureSnooze.heure = 0;
                    }
                }

                snoozeActif = 1;
            }
        }

        if (alarmeActive && !snoozeActif && horloge.heure == alarme.heure && horloge.min   == alarme.min && horloge.sec   == alarme.sec && !declenchee)
        {
            declenchee = 1;

            aubeActive = 1;
            debutAube = xTaskGetTickCount();

            playAlarme();

            sonnerieActive = 1;
            debutSonnerie = xTaskGetTickCount();
        }

        if (alarmeActive && snoozeActif && horloge.heure == heureSnooze.heure && horloge.min   == heureSnooze.min && horloge.sec   == heureSnooze.sec)
        {
            snoozeActif = 0;

            aubeActive = 1;
            debutAube = xTaskGetTickCount();

            playAlarme();

            sonnerieActive = 1;
            debutSonnerie = xTaskGetTickCount();
        }

        if (sonnerieActive && (xTaskGetTickCount() - debutSonnerie) >= pdMS_TO_TICKS(DUREE_ALARME_MS))
        {
            HAL_TIM_PWM_Stop(&htim8, TIM_CHANNEL_4);
            sonnerieActive = 0;
        }

        if (horloge.heure != alarme.heure || horloge.min != alarme.min || horloge.sec != alarme.sec)
        {
            declenchee = 0;
        }

        vTaskDelay(pdMS_TO_TICKS(20));
    }
}

void TaskAffichage(void *pvParameters)
{
    while (1)
    {
        if (xSemaphoreTake(mutexI2C, pdMS_TO_TICKS(100)) == pdTRUE)
        {
            SSD1306_Fill(0);
            SSD1306_GotoXY(0, 0);

            if (ecran == 0)
            {
                SSD1306_Puts("HEURE", &Font_11x18, oledColor);

                sprintf(Oled, "%02d:%02d:%02d", horloge.heure, horloge.min, horloge.sec);
            }

            else if (ecran == 1)
            {
                if (alarmeActive)
                {
                    SSD1306_Puts("ALARME ON", &Font_11x18, oledColor);
                }

                else
                {
                    SSD1306_Puts("ALARME OFF", &Font_11x18, oledColor);
                }

                sprintf(Oled,
                        "%02d:%02d:%02d", alarme.heure, alarme.min, alarme.sec);
            }

            else if (ecran == 2)
            {
                SSD1306_Puts("TEMPERATURE", &Font_11x18, oledColor);

                if (temperature < 0)
                {
                    int16_t t = -temperature;

                    sprintf(Oled, "-%d.%02d C", t / 100, t % 100);
                }

                else
                {
                    sprintf(Oled, "%d.%02d C", temperature / 100, temperature % 100);
                }
            }

            else
            {
                SSD1306_Puts("QUALITE AIR", &Font_11x18, oledColor);

                sprintf(Oled, "VOC : %d", voc);
            }

            SSD1306_GotoXY(0, 30);
            SSD1306_Puts(Oled, &Font_11x18, oledColor);

            SSD1306_UpdateScreen();

            xSemaphoreGive(mutexI2C);
        }

        vTaskDelay(pdMS_TO_TICKS(200));
    }
}

void TaskSW1(void *pvParameters)
{
    while (1)
    {
        xSemaphoreTake(semaphSW1, portMAX_DELAY);

        if (!crepusculeActif)
        {
            crepusculeActif = 1;
            debutCrepuscule = xTaskGetTickCount();
            melodieSommeilDemandee = 1;
        }
    }
}

void TaskSW2(void *pvParameters)
{
    while (1)
    {
        xSemaphoreTake(semaphSW2, portMAX_DELAY);
        ecran = (ecran+1) % 4;
    }
}

void TaskBluetooth(void *pvParameters)
{
    int h, m, s;
    int valeur;
    char reponse[256];

    while (1)
    {
        xSemaphoreTake(semaphBT, portMAX_DELAY);

        if (bt_char == '\r' || bt_char == '\n')
        {
            if (bt_index > 0)
            {
                bt_buffer[bt_index] = '\0';

                if (sscanf(bt_buffer, "heure : %d:%d:%d", &h, &m, &s) == 3)
                {

                    if ((h >= 0 && h < 24) && (m >= 0 && m < 60) && (s >= 0 && s < 60))
                    {
                        horloge.heure = h;
                        horloge.min   = m;
                        horloge.sec   = s;

                        sprintf(reponse, "OK heure : %02d:%02d:%02d\r\n", h, m, s);
                    }

                    else
                    {
                        sprintf(reponse, "ERREUR heure invalide\r\n");
                    }

                    HAL_UART_Transmit(&hlpuart1, (uint8_t *)reponse, strlen(reponse), HAL_MAX_DELAY);
                }

                else if (sscanf(bt_buffer, "alarme : %d:%d:%d", &h, &m, &s) == 3)
                {

                    if ((h >= 0 && h < 24) && (m >= 0 && m < 60) && (s >= 0 && s < 60))
                    {
                        alarme.heure = h;
                        alarme.min   = m;
                        alarme.sec   = s;

                        alarmeActive = 1;

                        sprintf(reponse, "OK alarme : %02d:%02d:%02d\r\n", h, m, s);
                    }

                    else
                    {
                        sprintf(reponse, "ERREUR alarme invalide\r\n");
                    }

                    HAL_UART_Transmit(&hlpuart1, (uint8_t *)reponse, strlen(reponse), HAL_MAX_DELAY);
                }

                else if (strcmp(bt_buffer, "alarme off") == 0)
                {

                    alarmeActive = 0;

                    sprintf(reponse, "OK alarme desactivee\r\n");

                    HAL_UART_Transmit(&hlpuart1, (uint8_t *)reponse, strlen(reponse), HAL_MAX_DELAY);
                }

                else if (strcmp(bt_buffer, "alarme on") == 0)
                {
                    alarmeActive = 1;

                    sprintf(reponse, "OK alarme activee : %02d:%02d:%02d\r\n", alarme.heure, alarme.min, alarme.sec);

                    HAL_UART_Transmit(&hlpuart1, (uint8_t *)reponse, strlen(reponse), HAL_MAX_DELAY);
                }

                else if (sscanf(bt_buffer, "temperature : %d", &valeur) == 1)
                {
                    if (valeur >= -40 && valeur <= 125)
                    {
                        seuilTemperature = (int16_t)(valeur * 100);

                        sprintf(reponse, "OK temperature : %d C\r\n", valeur);
                    }

                    else
                    {
                        sprintf(reponse, "ERREUR temperature invalide\r\n");
                    }

                    HAL_UART_Transmit(&hlpuart1, (uint8_t *)reponse, strlen(reponse), HAL_MAX_DELAY);
                }

                else if (sscanf(bt_buffer, "voc : %d", &valeur) == 1)
                {

                    if (valeur >= 0 && valeur <= 65535)
                    {
                        seuilVOC = (uint16_t)valeur;
                        sprintf(reponse, "OK voc : %d\r\n", valeur);
                    }

                    else
                    {
                        sprintf(reponse, "ERREUR voc invalide\r\n");
                    }

                    HAL_UART_Transmit(&hlpuart1, (uint8_t *)reponse, strlen(reponse), HAL_MAX_DELAY);
                }

                else if (sscanf(bt_buffer, "ldr : %d", &valeur) == 1)
                {
                    if (valeur >= 0 && valeur <= 4095)
                    {
                        seuilLDR = (uint16_t)valeur;

                        sprintf(reponse, "OK ldr : %d\r\n", valeur);
                    }

                    else
                    {
                        sprintf(reponse, "ERREUR ldr invalide\r\n");
                    }

                    HAL_UART_Transmit(&hlpuart1, (uint8_t *)reponse, strlen(reponse), HAL_MAX_DELAY);
                }

                else if (strcmp(bt_buffer, "status") == 0)
                {
                    sprintf(reponse,

                            "Heure : %02d:%02d:%02d\r\n"
                            "Alarme : %02d:%02d:%02d [%s]\r\n"
                            "Temperature seuil : %d C\r\n"
                            "VOC seuil : %u\r\n"
                            "LDR seuil : %u\r\n",

                            horloge.heure, horloge.min, horloge.sec,
                            alarme.heure, alarme.min, alarme.sec,
                            alarmeActive ? "ON" : "OFF",
                            seuilTemperature / 100,
                            seuilVOC,
                            seuilLDR);

                    HAL_UART_Transmit(&hlpuart1, (uint8_t *)reponse, strlen(reponse), HAL_MAX_DELAY);
                }

                else
                {
                    sprintf(reponse, "ERREUR commande inconnue\r\n");

                    HAL_UART_Transmit(&hlpuart1, (uint8_t *)reponse, strlen(reponse), HAL_MAX_DELAY);
                }

                bt_index = 0;
            }
        }

        else
        {
            if (bt_index < sizeof(bt_buffer) - 1)
            {
                bt_buffer[bt_index++] = bt_char;
            }

            else
            {
                bt_index = 0;
            }

        }

        HAL_UART_Receive_IT(&hlpuart1, &bt_char, 1);
    }
}

void TaskTemperature(void *pvParameters)
{
    uint8_t msbvalue;
    uint8_t lsbvalue;
    uint16_t temp;
    uint8_t sign;

    while (1)
    {
        HAL_GPIO_WritePin(CE_GPIO_Port, CE_Pin, GPIO_PIN_SET);

        HAL_SPI_Transmit(&hspi2, (uint8_t *)control_T, sizeof(control_T), HAL_MAX_DELAY);

        HAL_GPIO_WritePin(CE_GPIO_Port, CE_Pin, GPIO_PIN_RESET);

        vTaskDelay(pdMS_TO_TICKS(150));

        HAL_GPIO_WritePin(CE_GPIO_Port, CE_Pin, GPIO_PIN_SET);

        HAL_SPI_Transmit(&hspi2, &Temp_Address, 1, HAL_MAX_DELAY);

        HAL_SPI_Receive(&hspi2, (uint8_t *)Temp, 3, HAL_MAX_DELAY);

        HAL_GPIO_WritePin(CE_GPIO_Port, CE_Pin, GPIO_PIN_RESET);

        msbvalue = Temp[0];

        lsbvalue = Temp[1];

        temp = ((((uint16_t)(msbvalue & 0x7F) << 2) | (lsbvalue >> 6)) * 25);

        sign = (msbvalue & 0x80) ? 1 : 0;

        if (sign)
            temperature = -(int16_t)temp;

        else
            temperature = (int16_t)temp;

        temperatureValide = 1;

        vTaskDelay(pdMS_TO_TICKS(1000));
    }
}

void TaskVOC(void *pvParameters)
{
    while (1)
    {
        voc_temp = temperature / 100.0f;
        voc_humi = 50.0f;

        if (xSemaphoreTake(mutexI2C, pdMS_TO_TICKS(100)) == pdTRUE)
        {
            voc = SGP40_MeasureVOC(voc_temp, voc_humi);
            vocValide = 1;

            xSemaphoreGive(mutexI2C);
        }

        vTaskDelay(pdMS_TO_TICKS(1000));
    }
}

void TaskADC(void *pvParameters)
{
    while (1)
    {
        HAL_ADC_Start(&hadc1);

        if (HAL_ADC_PollForConversion(&hadc1, 10) == HAL_OK)
        {
            adcPot = HAL_ADC_GetValue(&hadc1);
        }

        if (HAL_ADC_PollForConversion(&hadc1, 10) == HAL_OK)
        {
            adcLdr = HAL_ADC_GetValue(&hadc1);
            oledColor = (adcLdr < seuilLDR) ? 1 : 0;
        }

        HAL_ADC_Stop(&hadc1);

        vTaskDelay(pdMS_TO_TICKS(100));
    }
}

void TaskVentilo(void *pvParameters)
{
    uint8_t direction = 0;
    uint8_t modePrecedent = 0xFF;
    TickType_t dernierChangement = 0;
    const TickType_t periode = pdMS_TO_TICKS(2000);

    Ventilo_Stop();

    while (1)
    {
        TickType_t maintenant = xTaskGetTickCount();

        if (adcPot > POT_SEUIL_MANUEL)
        {
            uint32_t vitesse = ((uint32_t)adcPot * 79999U) / 4095U;
            Ventilo_Start(0, vitesse);
            modePrecedent = 3;
        }

        else
        {
        	if (temperatureValide && temperature > seuilTemperature)
            {
                if (modePrecedent != 1)
                {
                    Ventilo_Start(0, 80000);
                    modePrecedent = 1;
                }

            }

            else if (vocValide && voc < seuilVOC)
            {
                if (modePrecedent != 2)
                {
                    direction = 0;
                    Ventilo_Start(direction, 60000);
                    dernierChangement = maintenant;
                    modePrecedent = 2;
                }

                if ((maintenant - dernierChangement) >= periode)
                {
                    direction = !direction;
                    Ventilo_Start(direction, 60000);
                    dernierChangement = maintenant;
                }
            }

            else
            {
                if (modePrecedent != 0)
                {
                    Ventilo_Stop();
                    modePrecedent = 0;
                }
            }
        }

        vTaskDelay(pdMS_TO_TICKS(50));
    }
}

void TaskLED(void *pvParameters)
{

    uint8_t red = 0;
    uint8_t green = 0;
    uint8_t blue = 0;

    TickType_t maintenant;
    uint32_t tempsEcoule;
    uint32_t progression;

    while (1)
    {
        maintenant = xTaskGetTickCount();

        if (crepusculeActif)
        {
            tempsEcoule = (uint32_t) ((maintenant - debutCrepuscule) * portTICK_PERIOD_MS);

            if (tempsEcoule < DUREE_CREPUSCULE_MS)
            {
                progression = (tempsEcoule * 255U) / DUREE_CREPUSCULE_MS;

                red = (uint8_t) (255U - progression);

                green = (uint8_t) ((100U * (255U - progression)) / 255U);

                blue = (uint8_t) ((20U * (255U - progression)) / 255U);
            }

            else
            {

                red = 0;
                green = 0;
                blue = 0;
                crepusculeActif = 0;
            }
        }

        else if (aubeActive)
        {
            tempsEcoule = (uint32_t) ((maintenant - debutAube) * portTICK_PERIOD_MS);

            if (tempsEcoule < DUREE_AUBE_MS)
            {
                progression = (tempsEcoule * 255U) / DUREE_AUBE_MS;

                red = (uint8_t)progression;

                green = (uint8_t) ((progression * 180U) / 255U);

                blue = (uint8_t) (40U + ((progression * 100U) / 255U));
            }

            else
            {
                red   = 0;
                green = 0;
                blue  = 0;
                aubeActive = 0;
            }
        }

        else
        {
            red = 0;
            green = 0;
            blue = 0;
        }

        LED_SetColor( red, green, blue);
        LED_Send();

        vTaskDelay(pdMS_TO_TICKS(100));
    }
}

void TaskMelodieSommeil(void *pvParameters)
{
    while (1)
    {
        if (melodieSommeilDemandee)
        {
            melodieSommeilDemandee = 0;
            playMelodyDouce();
        }

        vTaskDelay(pdMS_TO_TICKS(100));
    }
}

void HAL_UART_RxCpltCallback(UART_HandleTypeDef *huart)
{
    BaseType_t xHigherPriorityTaskWoken = pdFALSE;

    if (huart->Instance == LPUART1)
    {
        xSemaphoreGiveFromISR(semaphBT, &xHigherPriorityTaskWoken);
        portYIELD_FROM_ISR(xHigherPriorityTaskWoken);
    }
}

void HAL_GPIO_EXTI_Callback(uint16_t GPIO_Pin)
{

    BaseType_t xHigherPriorityTaskWoken = pdFALSE;
    static uint32_t dernierSW1 = 0;
    static uint32_t dernierSW2 = 0;

    uint32_t maintenant = HAL_GetTick();

    if (GPIO_Pin == SW2_Pin)
    {
        if ((maintenant - dernierSW2) >= 200U)
        {
            dernierSW2 = maintenant;
            xSemaphoreGiveFromISR(semaphSW2, &xHigherPriorityTaskWoken);
        }
    }

    if (GPIO_Pin == SW1_Pin)
    {
        if ((maintenant - dernierSW1) >= 200U)
        {
            dernierSW1 = maintenant;
            xSemaphoreGiveFromISR(semaphSW1, &xHigherPriorityTaskWoken);
        }
    }

    portYIELD_FROM_ISR(xHigherPriorityTaskWoken);
}

void TaskTouch(void *pvParameters)
{
    uint8_t stopPrecedent   = 0;
    uint8_t snoozePrecedent = 0;
    uint8_t onOffPrecedent  = 0;

    while (1)
    {
        touchStop = TSC_ReadChannel(TSC_GROUP1_IO1);
        touchSnooze = TSC_ReadChannel(TSC_GROUP1_IO2);
        touchOnOff = TSC_ReadChannel(TSC_GROUP1_IO3);

        uint8_t stopTouche = (touchStop < TOUCH_THRESHOLD);

        uint8_t snoozeTouche = (touchSnooze < TOUCH_THRESHOLD);

        uint8_t onOffTouche = (touchOnOff < TOUCH_THRESHOLD);

        if (stopTouche && !stopPrecedent)
        {
            demandeStopAlarme = 1;
        }

        if (snoozeTouche && !snoozePrecedent)
        {
            demandeSnooze = 1;
        }

        if (onOffTouche && !onOffPrecedent)
        {
            alarmeActive = !alarmeActive;

            if (!alarmeActive)
            {
                demandeStopAlarme = 1;
            }
        }

        stopPrecedent   = stopTouche;
        snoozePrecedent = snoozeTouche;
        onOffPrecedent  = onOffTouche;

        vTaskDelay(pdMS_TO_TICKS(50));
    }
}
/* USER CODE END 4 */

void StartDefaultTask(void const * argument)
{
  for(;;)
  {
    osDelay(1);
  }
}

void HAL_TIM_PeriodElapsedCallback(TIM_HandleTypeDef *htim)
{
  if (htim->Instance == TIM6) {
    HAL_IncTick();
  }
}

void Error_Handler(void)
{
  __disable_irq();
  while (1)
  {
  }
}
